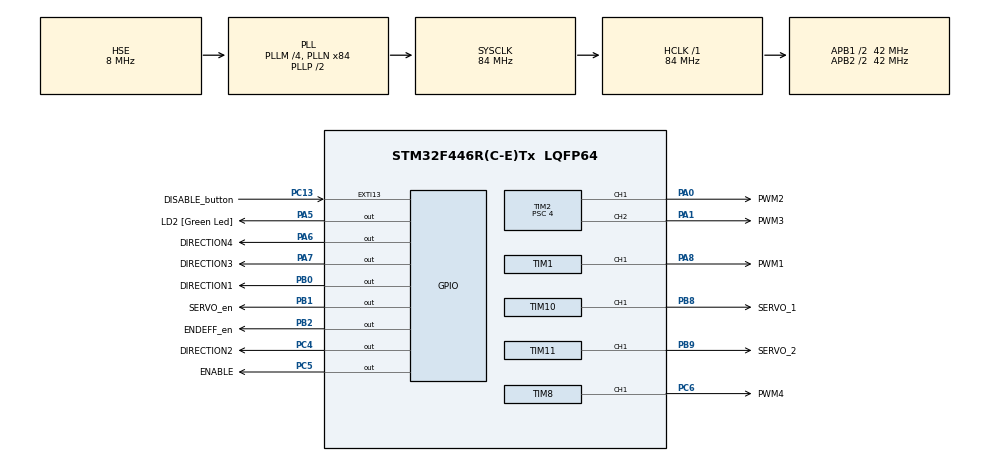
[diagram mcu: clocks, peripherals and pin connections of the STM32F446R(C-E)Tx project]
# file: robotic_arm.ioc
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Mcu.Family=STM32F4
Mcu.Name=STM32F446R(C-E)Tx
Mcu.Package=LQFP64
NVIC.EXTI15_10_IRQn=true\:0\:0\:false\:false\:true\:true\:true\:true
NVIC.PriorityGroup=NVIC_PRIORITYGROUP_1
NVIC.TIM1_CC_IRQn=true\:1\:0\:true\:false\:true\:true\:true\:true
NVIC.TIM1_TRG_COM_TIM11_IRQn=true\:1\:0\:true\:false\:true\:true\:true\:true
NVIC.TIM2_IRQn=true\:1\:0\:true\:false\:true\:true\:true\:true
NVIC.TIM6_DAC_IRQn=true\:1\:0\:true\:false\:true\:true\:true\:true
NVIC.TIM8_BRK_TIM12_IRQn=true\:1\:0\:true\:false\:true\:true\:true\:true
NVIC.TIM8_CC_IRQn=true\:1\:0\:true\:false\:true\:true\:true\:true
NVIC.TIM8_TRG_COM_TIM14_IRQn=true\:1\:0\:true\:false\:true\:true\:true\:true
NVIC.TIM8_UP_TIM13_IRQn=true\:1\:0\:true\:false\:true\:true\:true\:true
PA0-WKUP.GPIO_Label=PWM2
PA0-WKUP.Signal=S_TIM2_CH1_ETR
PA1.GPIO_Label=PWM3
PA1.Signal=S_TIM2_CH2
PA13.GPIO_Label=TMS
PA13.Mode=Serial_Wire
PA13.Signal=SYS_JTMS-SWDIO
PA14.GPIO_Label=TCK
PA14.Mode=Serial_Wire
PA14.Signal=SYS_JTCK-SWCLK
PA2.GPIO_Label=USART_TX
PA2.Signal=USART2_TX
PA5.GPIO_Label=LD2 [Green Led]
PA5.Signal=GPIO_Output
PA6.GPIO_Label=DIRECTION4
PA6.GPIO_PuPd=GPIO_PULLDOWN
PA6.Signal=GPIO_Output
PA7.GPIO_Label=DIRECTION3
PA7.GPIO_PuPd=GPIO_PULLDOWN
PA7.Signal=GPIO_Output
PA8.GPIO_Label=PWM1
PA8.Signal=S_TIM1_CH1
PB0.GPIO_Label=DIRECTION1
PB0.GPIO_ModeDefaultOutputPP=GPIO_MODE_OUTPUT_PP
PB0.GPIO_PuPd=GPIO_PULLDOWN
PB0.Signal=GPIO_Output
PB1.GPIO_Label=SERVO_en
PB1.GPIO_PuPd=GPIO_PULLDOWN
PB1.PinState=GPIO_PIN_RESET
PB1.Signal=GPIO_Output
PB2.GPIO_Label=ENDEFF_en
PB2.GPIO_PuPd=GPIO_PULLUP
PB2.PinState=GPIO_PIN_SET
PB2.Signal=GPIO_Output
PB3.GPIO_Label=SWO
PB3.Signal=SYS_JTDO-SWO
PB8.GPIO_Label=SERVO_1
PB8.Signal=S_TIM10_CH1
PB9.GPIO_Label=SERVO_2
PB9.Signal=S_TIM11_CH1
PC13.GPIO_Label=DISABLE_button
PC13.Signal=GPXTI13
PC14-OSC32_IN.Mode=LSE-External-Oscillator
PC14-OSC32_IN.Signal=RCC_OSC32_IN
PC15-OSC32_OUT.Mode=LSE-External-Oscillator
PC15-OSC32_OUT.Signal=RCC_OSC32_OUT
PC4.GPIO_Label=DIRECTION2
PC4.GPIO_PuPd=GPIO_PULLDOWN
PC4.Signal=GPIO_Output
PC5.GPIO_Label=ENABLE
PC5.GPIO_PuPd=GPIO_PULLUP
PC5.GPIO_Speed=GPIO_SPEED_FREQ_HIGH
PC5.PinState=GPIO_PIN_SET
PC5.Signal=GPIO_Output
PC6.GPIO_Label=PWM4
PC6.Signal=S_TIM8_CH1
PH0-OSC_IN.Mode=HSE-External-Oscillator
PH0-OSC_IN.Signal=RCC_OSC_IN
PH1-OSC_OUT.Mode=HSE-External-Oscillator
PH1-OSC_OUT.Signal=RCC_OSC_OUT
ProjectManager.HeapSize=0x200
ProjectManager.StackSize=0x400
ProjectManager.TargetToolchain=STM32CubeIDE
RCC.48MHZClocksFreq_Value=84000000
RCC.AHBFreq_Value=84000000
RCC.APB1CLKDivider=RCC_HCLK_DIV2
RCC.APB1Freq_Value=42000000
RCC.APB1TimFreq_Value=84000000
RCC.APB2CLKDivider=RCC_HCLK_DIV2
RCC.APB2Freq_Value=42000000
RCC.APB2TimFreq_Value=84000000
RCC.CortexFreq_Value=84000000
RCC.FLatency-AdvancedSettings=FLASH_LATENCY_2
RCC.HCLKFreq_Value=84000000
RCC.HSE_VALUE=8000000
RCC.HSI_VALUE=16000000
RCC.PLLM=4
RCC.PLLN=84
RCC.PLLSourceVirtual=RCC_PLLSOURCE_HSE
RCC.SYSCLKFreq_VALUE=84000000
RCC.SYSCLKSource=RCC_SYSCLKSOURCE_PLLCLK
RCC.USBFreq_Value=84000000
RCC.VCOOutputFreq_Value=168000000
SH.S_TIM10_CH1.0=TIM10_CH1,PWM Generation1 CH1
SH.S_TIM11_CH1.0=TIM11_CH1,PWM Generation1 CH1
SH.S_TIM1_CH1.0=TIM1_CH1,PWM Generation1 CH1
SH.S_TIM2_CH1_ETR.0=TIM2_CH1,PWM Generation1 CH1
SH.S_TIM2_CH2.0=TIM2_CH2,PWM Generation2 CH2
SH.S_TIM8_CH1.0=TIM8_CH1,PWM Generation1 CH1
TIM1.AutoReloadPreload=TIM_AUTORELOAD_PRELOAD_ENABLE
TIM1.Channel-PWM\ Generation1\ CH1=TIM_CHANNEL_1
TIM1.OCFastMode_PWM-PWM\ Generation1\ CH1=TIM_OCFAST_ENABLE
TIM1.Period=65535
TIM1.Prescaler=4
TIM1.Pulse-PWM\ Generation1\ CH1=32768
TIM1.TIM_MasterOutputTrigger=TIM_TRGO_UPDATE
TIM1.TIM_MasterSlaveMode=TIM_MASTERSLAVEMODE_ENABLE
TIM10.AutoReloadPreload=TIM_AUTORELOAD_PRELOAD_ENABLE
TIM10.Channel=TIM_CHANNEL_1
TIM10.OCFastMode_PWM=TIM_OCFAST_ENABLE
TIM10.Pulse=1
TIM11.AutoReloadPreload=TIM_AUTORELOAD_PRELOAD_ENABLE
TIM11.Channel=TIM_CHANNEL_1
TIM11.OCFastMode_PWM=TIM_OCFAST_ENABLE
TIM11.Pulse=1
TIM2.AutoReloadPreload=TIM_AUTORELOAD_PRELOAD_ENABLE
TIM2.Channel-PWM\ Generation1\ CH1=TIM_CHANNEL_1
TIM2.Channel-PWM\ Generation2\ CH2=TIM_CHANNEL_2
TIM2.OCFastMode_PWM-PWM\ Generation1\ CH1=TIM_OCFAST_ENABLE
TIM2.OCFastMode_PWM-PWM\ Generation2\ CH2=TIM_OCFAST_ENABLE
TIM2.Period=65535
TIM2.Prescaler=4
TIM2.Pulse-PWM\ Generation1\ CH1=32768
TIM2.Pulse-PWM\ Generation2\ CH2=32768
TIM2.TIM_MasterOutputTrigger=TIM_TRGO_UPDATE
TIM2.TIM_MasterSlaveMode=TIM_MASTERSLAVEMODE_ENABLE
TIM3.AutoReloadPreload=TIM_AUTORELOAD_PRELOAD_ENABLE
TIM3.CounterMode=TIM_COUNTERMODE_UP
TIM3.Period=199
TIM3.Prescaler=65535
TIM3.TIM_MasterOutputTrigger=TIM_TRGO_RESET
TIM3.TIM_MasterSlaveMode=TIM_MASTERSLAVEMODE_DISABLE
TIM4.AutoReloadPreload=TIM_AUTORELOAD_PRELOAD_ENABLE
TIM4.Period=199
TIM4.Prescaler=65535
TIM5.AutoReloadPreload=TIM_AUTORELOAD_PRELOAD_DISABLE
TIM5.Period=199
TIM5.Prescaler=65535
TIM5.TIM_MasterOutputTrigger=TIM_TRGO_RESET
TIM5.TIM_MasterSlaveMode=TIM_MASTERSLAVEMODE_DISABLE
TIM6.Period=59999
TIM6.Prescaler=1400*3
TIM8.AutoReloadPreload=TIM_AUTORELOAD_PRELOAD_ENABLE
TIM8.Channel-PWM\ Generation1\ CH1=TIM_CHANNEL_1
TIM8.OCFastMode_PWM-PWM\ Generation1\ CH1=TIM_OCFAST_ENABLE
TIM8.Period=65535
TIM8.Prescaler=4
TIM8.Pulse-PWM\ Generation1\ CH1=32768
TIM8.TIM_MasterOutputTrigger=TIM_TRGO_UPDATE
TIM8.TIM_MasterSlaveMode=TIM_MASTERSLAVEMODE_ENABLE
VP_TIM10_VS_ClockSourceINT.Mode=Enable_Timer
VP_TIM11_VS_ClockSourceINT.Mode=Enable_Timer
VP_TIM1_VS_ClockSourceINT.Mode=Internal
VP_TIM2_VS_ClockSourceINT.Mode=Internal
VP_TIM3_VS_ClockSourceINT.Mode=Internal
VP_TIM3_VS_ClockSourceITR.Mode=TriggerSource_ITR1
VP_TIM3_VS_ControllerModeTrigger.Mode=Trigger Mode
VP_TIM4_VS_ClockSourceINT.Mode=Internal
VP_TIM4_VS_ClockSourceITR.Mode=TriggerSource_ITR0
VP_TIM4_VS_ControllerModeTrigger.Mode=Trigger Mode
VP_TIM5_VS_ClockSourceINT.Mode=Internal
VP_TIM5_VS_ClockSourceITR.Mode=TriggerSource_ITR3
VP_TIM5_VS_ControllerModeTrigger.Mode=Trigger Mode
VP_TIM6_VS_ClockSourceINT.Mode=Enable_Timer
VP_TIM8_VS_ClockSourceINT.Mode=Internal
board=NUCLEO-F446RE

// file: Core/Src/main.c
/* USER CODE BEGIN Header */
/**
 ******************************************************************************
 * @file           : main.c
 * @brief          : Main program body
 ******************************************************************************
 * @attention
 *
 * Copyright (c) 2025 STMicroelectronics.
 * All rights reserved.
 *
 * This software is licensed under terms that can be found in the LICENSE file
 * in the root directory of this software component.
 * If no LICENSE file comes with this software, it is provided AS-IS.
 *
 ******************************************************************************
 */
/* USER CODE END Header */
#include "main.h"
#include "tim.h"
#include "gpio.h"

/* USER CODE BEGIN Includes */
#include "stepper.h"
#include "servo.h"
#include "end_eff_gpio.h"

#define TRAPEZOIDAL_PROFILE //COMMENT THIS IF YOU DON'T WANT THIS MOTION PROFILE FOR THE STEPPERS

#ifdef TRAPEZOIDAL_PROFILE
#include "trapezoidal_profile.h"
#include "trapezoidal_profile.c"
#endif

#ifndef TRAPEZOIDAL_PROFILE
#include "stp_callback.c"
#endif

/* USER CODE END Includes */

/* USER CODE BEGIN PV */
static stepper_obj stp1;
static stepper_obj stp2;
static stepper_obj stp3;
static stepper_obj stp4;
static servo_obj srv1;
static servo_obj srv2;
//int state;
//int arr;

/* USER CODE END PV */

void SystemClock_Config(void);

/* USER CODE BEGIN 0 */
//GPIO_PinState state;
/* USER CODE END 0 */

int main(void) {

	/* MCU Configuration--------------------------------------------------------*/

	/* Reset of all peripherals, Initializes the Flash interface and the Systick. */
	HAL_Init();

	/* Configure the system clock */
	SystemClock_Config();

	/* Initialize all configured peripherals */
	MX_GPIO_Init();
	MX_TIM3_Init();
	MX_TIM5_Init();
	MX_TIM1_Init();
	MX_TIM2_Init();
	MX_TIM4_Init();
	MX_TIM8_Init();
	MX_TIM10_Init();
	MX_TIM11_Init();
	MX_TIM6_Init();
	/* USER CODE BEGIN 2 */
	HAL_TIM_Base_Start(&htim4); //1st joint
	HAL_TIM_Base_Start(&htim3); //2nd joint
	HAL_TIM_Base_Start(&htim5); //3rd joint

	HAL_GPIO_WritePin(ENABLE_GPIO_Port, ENABLE_Pin, GPIO_PIN_RESET); //ENABLE
	/*
	 stepper_init(obj, resol, microstep, enable_port, direction_port, timer slave, timerpwm*/
	stepper_init(&stp1, &htim1, &htim4, 1.8, 4 * 4.27, DIRECTION1_GPIO_Port,
	DIRECTION1_Pin);
	stepper_init(&stp2, &htim2, &htim3, 1.8, 4 * 6, DIRECTION2_GPIO_Port,
	DIRECTION2_Pin);
	stepper_init(&stp3, &htim2, &htim3, 1.8, 4 * 6, DIRECTION3_GPIO_Port,
	DIRECTION3_Pin);
	stepper_init(&stp4, &htim8, &htim5, 1.8, 8 * 4.9, DIRECTION4_GPIO_Port,
	DIRECTION4_Pin);
	servo_init(&srv1, &htim10); //default position
	servo_init(&srv2, &htim11); //default position

	for (int i = 0; i < 2; i++) {

		//FIRST MOVEMENT
		stepper_move(&stp1, COUNTERCLOCKWISE, 36.5, 40);

		stepper_move(&stp2, CLOCKWISE, 132.5, 10);
		stepper_move(&stp3, COUNTERCLOCKWISE, 132.5, 10);

		stepper_move(&stp4, CLOCKWISE, 40, 40);

		servo_move(&srv2, -15);
		end_eff_config(0, &htim6);

		HAL_Delay(3500);

		//SECOND MOVEMENT

		stepper_move(&stp2, COUNTERCLOCKWISE, 75, 10);
		stepper_move(&stp3, CLOCKWISE, 75, 10);

		HAL_Delay(2000);

		//third mov

		stepper_move(&stp1, CLOCKWISE, 70, 70);
		HAL_Delay(3900);

		//4 MOV

		stepper_move(&stp2, CLOCKWISE, 45, 10);
		stepper_move(&stp3, COUNTERCLOCKWISE, 45, 10);

		//stepper_move(&stp4, CLOCKWISE, 8, 8);

		servo_move(&srv2, 0);

		HAL_Delay(4000);

		end_eff_config(0, &htim6);

		stepper_move(&stp2, COUNTERCLOCKWISE, 104.5, 10);
		stepper_move(&stp3, CLOCKWISE, 104.5, 10);

		stepper_move(&stp1, COUNTERCLOCKWISE, 33.5, 40);

		stepper_move(&stp4, COUNTERCLOCKWISE, 40, 40);

		HAL_Delay(3000);
	}

	/* USER CODE END 2 */

	/* Infinite loop */
	while (1) {

	}
}

void SystemClock_Config(void) {
	RCC_OscInitTypeDef RCC_OscInitStruct = { 0 };
	RCC_ClkInitTypeDef RCC_ClkInitStruct = { 0 };

	/** Configure the main internal regulator output voltage
	 */
	__HAL_RCC_PWR_CLK_ENABLE();
	__HAL_PWR_VOLTAGESCALING_CONFIG(PWR_REGULATOR_VOLTAGE_SCALE3);

	/** Initializes the RCC Oscillators according to the specified parameters
	 * in the RCC_OscInitTypeDef structure.
	 */
	RCC_OscInitStruct.OscillatorType = RCC_OSCILLATORTYPE_HSE;
	RCC_OscInitStruct.HSEState = RCC_HSE_ON;
	RCC_OscInitStruct.PLL.PLLState = RCC_PLL_ON;
	RCC_OscInitStruct.PLL.PLLSource = RCC_PLLSOURCE_HSE;
	RCC_OscInitStruct.PLL.PLLM = 4;
	RCC_OscInitStruct.PLL.PLLN = 84;
	RCC_OscInitStruct.PLL.PLLP = RCC_PLLP_DIV2;
	RCC_OscInitStruct.PLL.PLLQ = 2;
	RCC_OscInitStruct.PLL.PLLR = 2;
	if (HAL_RCC_OscConfig(&RCC_OscInitStruct) != HAL_OK) {
		Error_Handler();
	}

	/** Initializes the CPU, AHB and APB buses clocks
	 */
	RCC_ClkInitStruct.ClockType = RCC_CLOCKTYPE_HCLK | RCC_CLOCKTYPE_SYSCLK
			| RCC_CLOCKTYPE_PCLK1 | RCC_CLOCKTYPE_PCLK2;
	RCC_ClkInitStruct.SYSCLKSource = RCC_SYSCLKSOURCE_PLLCLK;
	RCC_ClkInitStruct.AHBCLKDivider = RCC_SYSCLK_DIV1;
	RCC_ClkInitStruct.APB1CLKDivider = RCC_HCLK_DIV2;
	RCC_ClkInitStruct.APB2CLKDivider = RCC_HCLK_DIV2;

	if (HAL_RCC_ClockConfig(&RCC_ClkInitStruct, FLASH_LATENCY_2) != HAL_OK) {
		Error_Handler();
	}
}

void Error_Handler(void) {
	__disable_irq();
	while (1) {
	}
}
